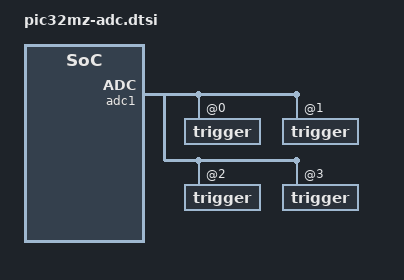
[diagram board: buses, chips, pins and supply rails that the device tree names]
/ {
	adc1: adc@bf84b000 {
		compatible = "microchip,pic32-adc";
		reg = <0xbf84b000 0x300>;
		interrupts = <ADC1_GLOBAL DEFAULT_INT_PRI IRQ_TYPE_LEVEL_HIGH>;
		pinctrl-names = "default";
		pinctrl-0 = <&pinctrl_adc1>;
		enabled-channel-mask = <0x10000000>;
		resolution = <12>;
		vref = <3300>;

		trigger@0 {
				trigger-name = "int0-external-interrupt";
				trigger-value = <4>;
				};

		trigger@1 {
				trigger-name = "tmr1-match";
				trigger-value = <5>;
				microchip,timer = <&PBTIMER1>;
				};

		trigger@2 {
				trigger-name = "tmr3-match";
				trigger-value = <6>;
				microchip,timer = <&PBTIMER23>;
				};

		trigger@3 {
				trigger-name = "tmr5-match";
				trigger-value = <7>;
				microchip,timer = <&PBTIMER5>;
				};
	};
};
